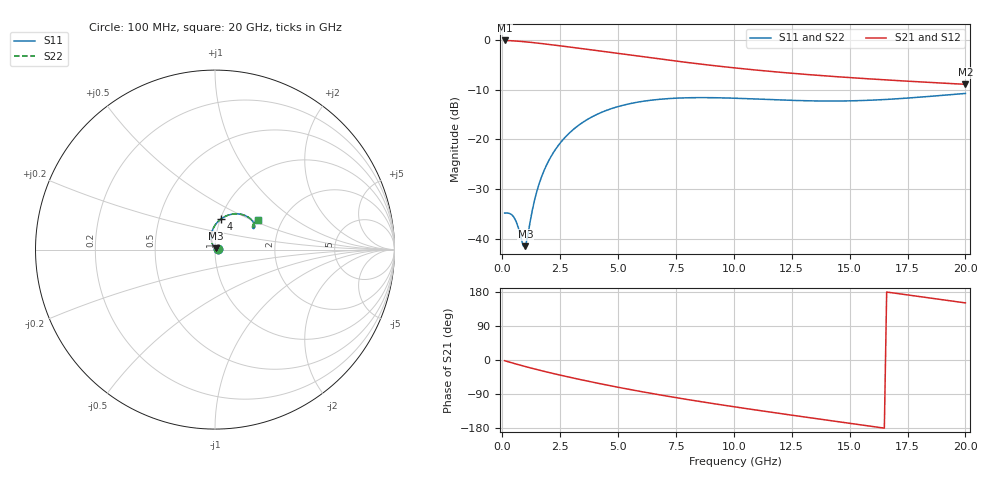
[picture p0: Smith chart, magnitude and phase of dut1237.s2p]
! Touchstone file exported from HFSS 2024.1.0
!  File:  C:/UserFiles/LocalFiles/RDL_TSV_Batchsim/temp_RDL_TSV_1237_1780266451.aedt
!  Generated:  06:40:41 AM Jun  1, 2026
!  Design:  RDL_TSV
!  Project:  temp_RDL_TSV_1237_1780266451
!  Setup:  Setup1
!  Solution:  Sweep
! Variables:
!  dtsv = 13.51um
!  hbump = 3um
!  htsv = 50.36um
!  ldown = 315.81um
!  lrdl = 578.11um
!  p = 40
!  p1 = 47.1um
!  rhole = 10um
!  subl = 3259.87um
!  t = 450um
!  tdown = 2.51um
!  trdl = 2.73um
!  viad = 10um
!  wdown = 21.32um
!  wrdl = 25.6um
!  xbump = 18um
# GHz S MA R 50.000000
! Terminal data exported
! Port[1] = TM1_1_T1
! Port[2] = TM1_4_T1
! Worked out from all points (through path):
!   200 points, 100 MHz to 20 GHz, reference 50 ohm
!   highest |S21| = -0.17 dB at 100 MHz (marker M1); lowest = -9.0 dB at 20 GHz (marker M2)
!   group delay of S21, straight-line fit = 27.6 ps
!   lowest |S11| = -41.4 dB at 1 GHz (marker M3), VSWR 1.02, Z = 50.3 + j0.805 ohm
!   |S11| at or under -10 dB: start of sweep to end of sweep
!   |S22| runs from -41.4 to -10.8 dB; largest |S21 - S12| = 1.1e-14
!   S11 on the Smith chart (normalised r, x): 100 MHz: 1.04, +0.00; 4 GHz: 1.01, +0.36; 20 GHz: 1.51, +0.54
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0.1  0.01831 2.8  0.9812 -1.8  0.9812 -1.8  0.01831 2.8
! Gamma 0 0 0 0
! Port Impedance 50 0 50 0
0.3  0.01819 6.9  0.9771 -5.5  0.9771 -5.5  0.01819 7.0
0.5  0.01668 9.1  0.9711 -9.0  0.9711 -9.0  0.01671 9.1
0.7  0.0129 14.8  0.9638 -12.4  0.9638 -12.4  0.01295 14.7
0.9  0.008627 42.2  0.9554 -15.7  0.9554 -15.7  0.008614 41.9
1  0.008535 69.7  0.9507 -17.4  0.9507 -17.4  0.008493 69.6
1.3  0.01973 111.2  0.9356 -22.2  0.9356 -22.2  0.01974 111.3
1.4  0.02506 113.8  0.9302 -23.8  0.9302 -23.8  0.02508 113.9
1.6  0.03652 114.5  0.9191 -26.8  0.9191 -26.8  0.03656 114.6
1.9  0.05475 111.4  0.9019 -31.3  0.9019 -31.3  0.0548 111.4
2.2  0.07344 106.9  0.8844 -35.7  0.8844 -35.7  0.0735 106.9
2.6  0.09822 100.3  0.8611 -41.3  0.8611 -41.3  0.09829 100.3
3.5  0.1497 86.0  0.8097 -53.4  0.8097 -53.4  0.1498 86.0
4  0.1743 78.8  0.7818 -59.7  0.7818 -59.7  0.1744 78.8
5.2  0.2197 64.0  0.7176 -74.3  0.7176 -74.3  0.2198 64.0
6.8  0.2526 48.9  0.6401 -92.0  0.6401 -92.0  0.2526 48.9
8.4  0.2625 38.5  0.5748 -108.3  0.5748 -108.3  0.2624 38.5
10.1  0.2587 31.7  0.5191 -124.3  0.5191 -124.3  0.2585 31.7
11.7  0.2503 28.8  0.4778 -138.6  0.4778 -138.6  0.25 28.8
13.4  0.2435 28.8  0.4431 -153.4  0.4431 -153.4  0.2431 28.8
16.7  0.2526 32.9  0.3933 178.5  0.3933 178.5  0.2523 33.1
20  0.289 34.4  0.3569 150.7  0.3569 150.7  0.289 34.6
